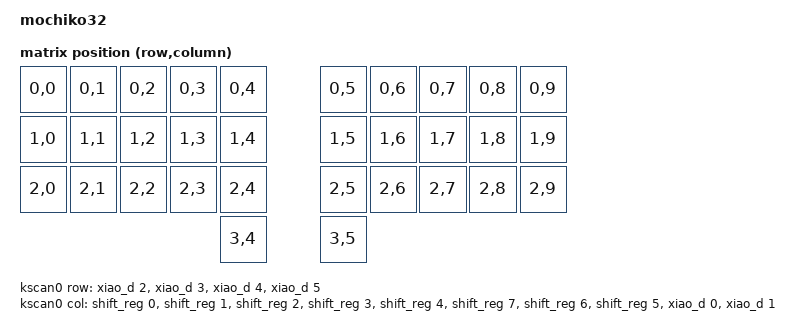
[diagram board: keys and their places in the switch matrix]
#include <dt-bindings/zmk/matrix_transform.h>
#include "./mochiko32-layouts.dtsi"

&xiao_serial { status = "disabled"; };

&xiao_spi {
    status = "okay";

    cs-gpios = <&xiao_d 7 GPIO_ACTIVE_LOW>;
        shift_reg: 595@0 {
               compatible = "zmk,gpio-595";
               status = "okay";
               gpio-controller;
               spi-max-frequency = <200000>;
               reg = <0>;
               #gpio-cells = <2>;
               ngpios = <8>;
       };
};

/ {
    model = "mochiko32";
    compatible = "mochiko32";

    chosen {
        zmk,kscan = &kscan0;
        zmk,physical-layout = &mochiko32_physical_layout;
        transform = <&default_transform>;
   //     zmk,matrix_transform = &default_transform;
    };

    default_transform: keymap_transform_0 {
       compatible = "zmk,matrix-transform";
       rows = <4>;
       columns = <10>;

       map = <
           RC(0,0) RC(0,1) RC(0,2) RC(0,3) RC(0,4) RC(0,5) RC(0,6) RC(0,7) RC(0,8) RC(0,9)
           RC(1,0) RC(1,1) RC(1,2) RC(1,3) RC(1,4) RC(1,5) RC(1,6) RC(1,7) RC(1,8) RC(1,9)
           RC(2,0) RC(2,1) RC(2,2) RC(2,3) RC(2,4) RC(2,5) RC(2,6) RC(2,7) RC(2,8) RC(2,9)
                                           RC(3,4) RC(3,5)
           >;
    };

    kscan0: kscan0 {
           compatible = "zmk,kscan-gpio-matrix";
    //       label = "KSCAN";

           debounce-press-ms = <1>;
           debounce-release-ms = <5>;

           diode-direction = "col2row";
           wakeup-source;
           // 1 5 4 3 2 6 7 8
           col-gpios
               = <&shift_reg 0 (GPIO_ACTIVE_HIGH)>
               , <&shift_reg 1 (GPIO_ACTIVE_HIGH)>
               , <&shift_reg 2 (GPIO_ACTIVE_HIGH)>
               , <&shift_reg 3 (GPIO_ACTIVE_HIGH)>
               , <&shift_reg 4 (GPIO_ACTIVE_HIGH)>
               , <&shift_reg 7 (GPIO_ACTIVE_HIGH)>
               , <&shift_reg 6 (GPIO_ACTIVE_HIGH)>
               , <&shift_reg 5 (GPIO_ACTIVE_HIGH)>
               , <&xiao_d 0 (GPIO_ACTIVE_HIGH)>
               , <&xiao_d 1 (GPIO_ACTIVE_HIGH)>
               ;
           row-gpios
               = <&xiao_d 2  (GPIO_ACTIVE_HIGH | GPIO_PULL_DOWN)>
               , <&xiao_d 3  (GPIO_ACTIVE_HIGH | GPIO_PULL_DOWN)>
               , <&xiao_d 4 (GPIO_ACTIVE_HIGH | GPIO_PULL_DOWN)>
               , <&xiao_d 5 (GPIO_ACTIVE_HIGH | GPIO_PULL_DOWN)>
               ;
       };
         soft_off_wakers {
    compatible = "zmk,soft-off-wakeup-sources";
    wakeup-sources = <&kscan0>;
  };
};
